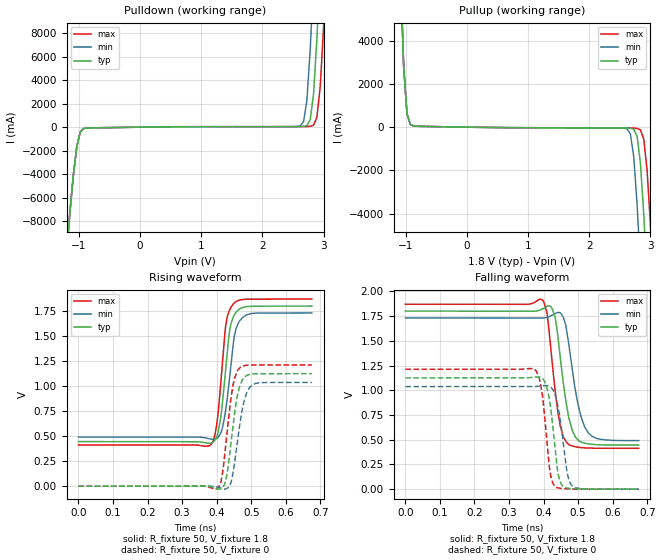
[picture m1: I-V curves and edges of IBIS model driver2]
| IBIS file invchain_weak_tr200ps.ibs created by PYS2IBIS3
| Missouri S&T EMC Lab
[IBIS Ver] 7.1
[File Name] invchain_weak_tr200ps.ibs
[File Rev] 1.0
[Date] Jul 27, 2026
[Source] inv_chain variant 'weak' -- half drive at every stage
[Notes] Parameter selection; sim_time=6.756e-10, tr=tf=2.000e-10.
[Component] invchain
[Manufacturer] s2ibispy study
[Package]
| variable   typ   min   max
R_pkg 0 NA NA
L_pkg 0H NA NA
C_pkg 0F NA NA
[Pin]  signal_name   model_name   R_pin   L_pin   C_pin
VSSQ   VSSQ   Gnd
VCCQ   VCCQ   Power
| IN IN dummy
PAD   PAD   driver2
| End of Component
| Models and submodels in the file (1): driver2 (Output)
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[Model] driver2
Model_type Output
Polarity Non-Inverting
Enable Active-High
Vinl  = 0.8V
Vinh  = 2V
C_comp 0.4680pF NA NA
[Temperature Range] 27.0000 27.0000 27.0000
[Voltage Range] 1.8000V 1.7000V 1.9000V
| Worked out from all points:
|   slope of the pulldown table from 0 to 0.27 V, typ, clamps not added: 14.1 ohm
|   slope of the pullup table from 0 to 0.27 V, typ, clamps not added: 24.6 ohm
|   rising waveform, R_fixture 50, V_fixture 1.8: 20-80 % time 23.7ps typ, 25.2ps min, 21.9ps max; typ from 0.446 V to 1.8 V
|   rising waveform, R_fixture 50, V_fixture 0: 20-80 % time 25.4ps typ, 27.2ps min, 24.1ps max; typ from 0 V to 1.12 V
|   falling waveform, R_fixture 50, V_fixture 1.8: 20-80 % time 31.5ps typ, 35.5ps min, 28.3ps max; typ from 1.8 V to 0.446 V
|   falling waveform, R_fixture 50, V_fixture 0: 20-80 % time 22.2ps typ, 24.5ps min, 20.6ps max; typ from 1.12 V to 0 V
[Pulldown]
| Voltage   I(typ)   I(min)   I(max)
-1.8V     -50.22A    -50.22A    -50.22A
-1.2V     -10.44A    -10.44A    -10.44A
-1.036V   -1.67A     -1.668A    -1.672A
-927.3mV  -121.6mA   -118.9mA   -124mA
2.618V    48.73mA    103.1mA    49.35mA
2.727V    131.8mA    2.281A     54.59mA
2.782V    631.5mA    6.58A      69.15mA
2.836V    2.833A     12.65A     170.1mA
2.891V    7.503A     19.29A     839.8mA
2.946V    13.76A     25.94A     3.459A
3V        20.41A     32.59A     8.47A
3.6V      93.55A     105.7A     81.36A
[Pullup]
| Voltage   I(typ)   I(min)   I(max)
-1.8V     93.5A      93.5A      93.5A
-1.091V   7.473A     7.472A     7.473A
-981.8mV  621.2mA    620.4mA    621.9mA
-872.7mV  52.26mA    51.37mA    53.06mA
2.618V    -40.01mA   -79.32mA   -40.56mA
2.727V    -99.7mA    -1.375A    -44.4mA
2.782V    -427.1mA   -3.579A    -55.14mA
2.836V    -1.672A    -6.535A    -126.4mA
2.891V    -4.036A    -9.883A    -555.7mA
2.946V    -7.076A    -13.45A    -2.002A
3V        -10.47A    -17.07A    -4.511A
3.6V      -50.25A    -56.88A    -43.62A
[Ramp]
| variable   typ   min   max
dV/dt_r 0.6750/0.02544n 0.6222/0.02725n 0.7272/0.0237n
dV/dt_f 0.8123/0.03134n 0.7501/0.0341n 0.8728/0.02906n
R_load = 50
[Rising Waveform]
R_fixture = 50
V_fixture = 1.8
|time   V(typ)   V(min)   V(max)
0s        446.2mV    490.9mV    413.3mV
382.1ps   430.4mV    471.7mV    411.6mV
399.7ps   488.7mV    476.2mV    604.7mV
416.6ps   830.2mV    582.3mV    1.235V
426.7ps   1.189V     778.4mV    1.615V
437.6ps   1.559V     1.091V     1.762V
445.7ps   1.67V      1.351V     1.812V
459.9ps   1.753V     1.611V     1.852V
486.9ps   1.795V     1.712V     1.869V
675.6ps   1.8V       1.731V     1.87V
[Rising Waveform]
R_fixture = 50
V_fixture = 0
|time   V(typ)   V(min)   V(max)
0s        17.4nV     16.96nV    17.93nV
400.4ps   -22.95mV   -6.715mV   -25.35mV
412.5ps   -25.42mV   -19.5mV    44.45mV
420ps     3.874mV    -26.33mV   204.9mV
429.5ps   112.7mV    -24.17mV   516.4mV
445.7ps   560.6mV    105.8mV    982.7mV
460.6ps   915mV      461.9mV    1.157V
478.8ps   1.082V     845.4mV    1.204V
503.8ps   1.122V     1.015V     1.212V
675.6ps   1.125V     1.037V     1.212V
[Falling Waveform]
R_fixture = 50
V_fixture = 1.8
|time   V(typ)   V(min)   V(max)
0s        1.8V       1.731V     1.87V
397ps     1.822V     1.73V      1.912V
410.5ps   1.849V     1.737V     1.772V
433.5ps   1.741V     1.775V     997.3mV
447.7ps   1.353V     1.783V     648.7mV
466.6ps   848.8mV    1.609V     470.1mV
481.5ps   607.6mV    1.249V     438.3mV
498.4ps   503mV      879mV      424.7mV
528.2ps   458.3mV    573.2mV    415.7mV
675.6ps   446.1mV    490.7mV    413.3mV
[Falling Waveform]
R_fixture = 50
V_fixture = 0
|time   V(typ)   V(min)   V(max)
0s        1.125V     1.037V     1.212V
372.6ps   1.132V     1.037V     1.214V
390.9ps   1.13V      1.043V     1.075V
408.5ps   1.042V     1.047V     532.9mV
420ps     838.2mV    1.034V     150.8mV
434.2ps   381mV      944.1mV    22.93mV
451.1ps   49.77mV    633.9mV    8.215mV
468ps     11.3mV     171.6mV    3.76mV
482.9ps   5.704mV    32.14mV    1.754mV
675.6ps   -4.215uV   -8.321uV   -1.651uV
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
